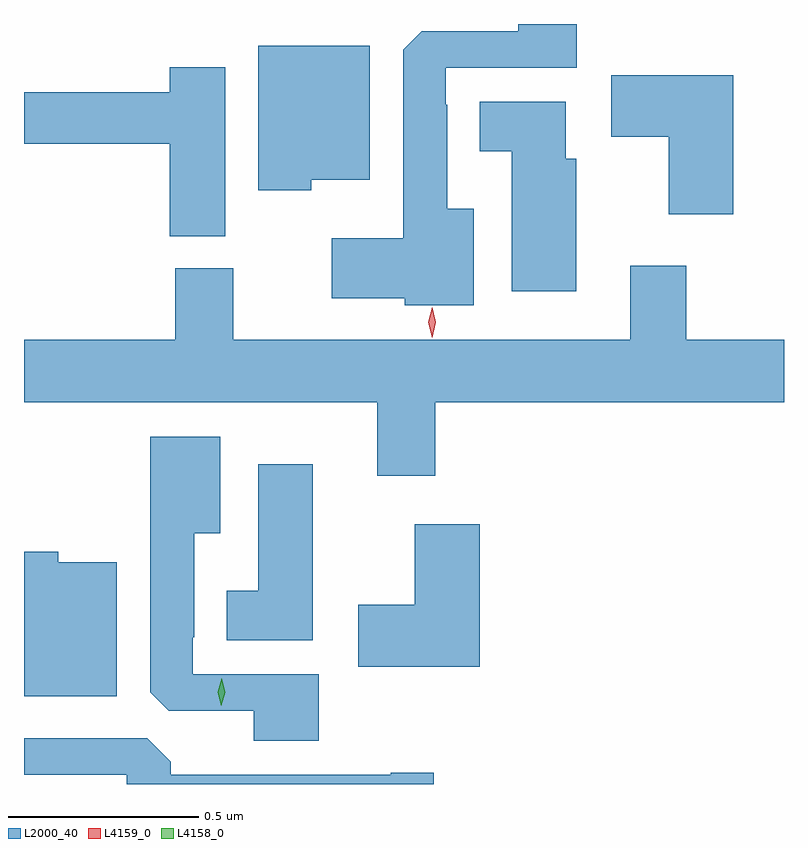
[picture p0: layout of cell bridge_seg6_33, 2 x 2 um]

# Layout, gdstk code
import gdstk
lib = gdstk.Library(unit=1e-6, precision=1e-09)
def P(c, l, *ps):  # polygons
    for p in ps: c.add(gdstk.Polygon(p, *l))
L2000_40 = (2000, 40)
L4158_0 = (4158, 0)
L4159_0 = (4159, 0)

bridge_seg6_33 = lib.new_cell('bridge_seg6_33')
P(bridge_seg6_33, L2000_40, [(1086.562,975.817),(1086.493,975.817),(1086.493,976.091),(1086.489,976.091),(1086.489,976.188),(1086.833,976.188),(1086.833,976.303),(1086.68,976.303),(1086.68,976.284),(1086.426,976.284),(1086.377,976.235),(1086.377,975.739),(1086.189,975.739),(1086.189,975.581),(1086.381,975.581),(1086.381,975.563),(1086.562,975.563)],
  [(1086.135,975.893),(1086.289,975.893),(1086.289,976.246),(1085.996,976.246),(1085.996,975.866),(1086.135,975.866)],
  [(1085.908,976.189),(1085.762,976.189),(1085.762,976.124),(1085.379,976.124),(1085.379,975.988),(1085.762,975.988),(1085.762,975.745),(1085.908,975.745)],
  [(1087.246,976.168),(1086.924,976.168),(1086.924,976.006),(1087.076,976.006),(1087.076,975.803),(1087.246,975.803)],
  [(1086.832,975.948),(1086.805,975.948),(1086.805,976.099),(1086.578,976.099),(1086.578,975.968),(1086.662,975.968),(1086.662,975.6),(1086.832,975.6)],
  [(1086.461,975.308),(1087.379,975.308),(1087.379,975.472),(1087.122,975.472),(1087.122,975.667),(1086.974,975.667),(1086.974,975.472),(1085.929,975.472),(1085.929,975.66),(1085.777,975.66),(1085.777,975.472),(1085.379,975.472),(1085.379,975.308),(1086.308,975.308),(1086.308,975.114),(1086.461,975.114)],
  [(1086.154,974.592),(1085.823,974.592),(1085.823,974.689),(1085.827,974.689),(1085.827,974.963),(1085.896,974.963),(1085.896,975.217),(1085.711,975.217),(1085.711,974.545),(1085.76,974.496),(1085.984,974.496),(1085.984,974.417),(1086.154,974.417)],
  [(1086.139,975.145),(1085.996,975.145),(1085.996,974.812),(1085.912,974.812),(1085.912,974.681),(1086.139,974.681)],
  [(1086.578,974.986),(1086.407,974.986),(1086.407,974.775),(1086.258,974.775),(1086.258,974.612),(1086.578,974.612)],
  [(1085.623,974.887),(1085.469,974.887),(1085.469,974.914),(1085.379,974.914),(1085.379,974.534),(1085.623,974.534)],
  [(1086.457,974.333),(1086.344,974.333),(1086.344,974.328),(1085.765,974.328),(1085.765,974.362),(1085.703,974.424),(1085.379,974.424),(1085.379,974.328),(1085.649,974.328),(1085.649,974.303),(1086.457,974.303)])
P(bridge_seg6_33, L4158_0, [(1085.898,974.509),(1085.898,974.509),(1085.889,974.545),(1085.899,974.581),(1085.899,974.581),(1085.899,974.581),(1085.909,974.545),(1085.898,974.509)])
P(bridge_seg6_33, L4159_0, [(1086.453,975.478),(1086.453,975.478),(1086.443,975.518),(1086.453,975.558),(1086.453,975.558),(1086.453,975.558),(1086.463,975.518),(1086.453,975.478)])

lib.write_gds('bridge_seg6_33.gds')
